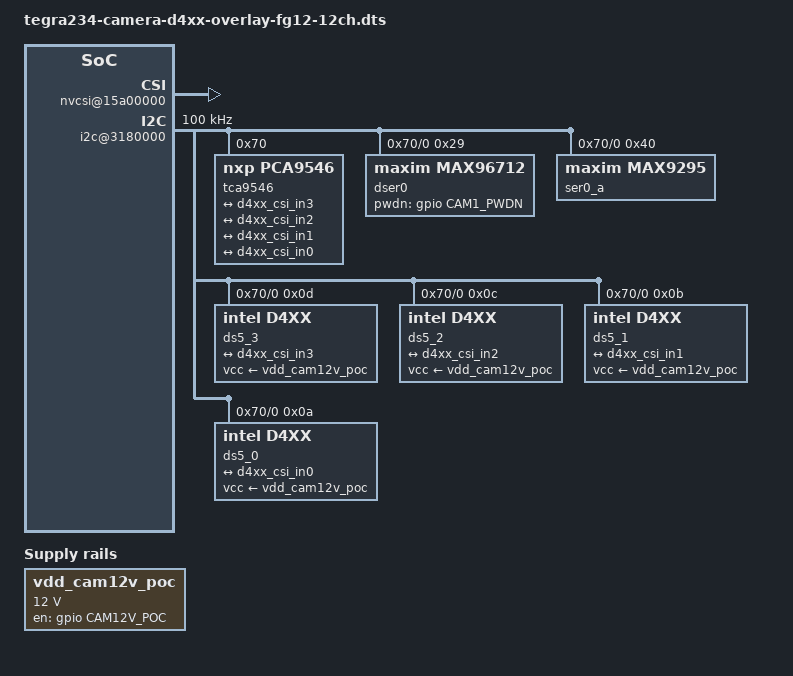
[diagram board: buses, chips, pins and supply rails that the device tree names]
// SPDX-License-Identifier: GPL-2.0-only
// SPDX-FileCopyrightText: Copyright (c) 2018-2023, INTEL CORPORATION. All rights reserved.
// SPDX-FileCopyrightText: Copyright (c) 2018-2024, NVIDIA CORPORATION & AFFILIATES. All rights reserved.

/dts-v1/;
/plugin/;

#include <dt-bindings/clock/tegra234-clock.h>
#include <dt-bindings/gpio/tegra234-gpio.h>
#include <dt-bindings/tegra234-p3737-0000+p3701-0000.h>

/* One D4xx/D457 camera on cam0 (deserializer 0, link 0).
 * This overlay does not configure TSC frame synchronization.
 */
#define CAM12V_POC	TEGRA234_MAIN_GPIO(AC, 7)
#define CAMERA_I2C_MUX_BUS(x) (0x1E + x)

#define CAM1_PWDN	TEGRA234_MAIN_GPIO(H, 3) /* deserializer on mux i2c@0 */

/ {
	overlay-name = "Orin FG12-12ch D4xx cam0";
	jetson-header-name = "Jetson AGX CSI Connector";
	compatible = JETSON_COMPATIBLE;

	fragment@1 {
		target-path = "/";
		__overlay__ {
			vdd_cam12v_poc: regulator-vdd-cam12v-poc {
				compatible = "regulator-fixed";
				regulator-name = "vdd-cam12v-poc";
				regulator-min-microvolt = <12000000>;
				regulator-max-microvolt = <12000000>;
				gpio = <&gpio CAM12V_POC GPIO_ACTIVE_HIGH>;
				enable-active-high;
			};
		};
	};

	fragment@0 {
		status = "okay";
		target-path = "/";
		__overlay__ {
			status = "okay";
			tegra-capture-vi {
				status = "okay";
				num-channels = <4>;
				ports {
					status = "okay";
					#address-cells = <1>;
					#size-cells = <0>;
					port@0 {
						status = "okay";
						reg = <0>;
						d4xx_vi_in0: endpoint {
							status = "okay";
							vc-id = <0>;
							port-index = <4>;
							bus-width = <4>;
							remote-endpoint = <&d4xx_csi_out0>;
						};
					};
					port@1 {
						status = "okay";
						reg = <1>;
						d4xx_vi_in1: endpoint {
							status = "okay";
							vc-id = <1>;
							port-index = <4>;
							bus-width = <4>;
							remote-endpoint = <&d4xx_csi_out1>;
						};
					};
					port@2 {
						status = "okay";
						reg = <2>;
						d4xx_vi_in2: endpoint {
							status = "okay";
							vc-id = <2>;
							port-index = <4>;
							bus-width = <4>;
							remote-endpoint = <&d4xx_csi_out2>;
						};
					};
					port@3 {
						status = "okay";
						reg = <3>;
						d4xx_vi_in3: endpoint {
							status = "okay";
							vc-id = <3>;
							port-index = <4>;
							bus-width = <4>;
							remote-endpoint = <&d4xx_csi_out3>;
						};
					};
				};
			};

			bus@0 {
				status = "okay";
				host1x@13e00000 {
					status = "okay";
					nvcsi@15a00000 {
						status = "okay";
						num-channels = <4>;
						#address-cells = <1>;
						#size-cells = <0>;
						channel@0 {
							status = "okay";
							reg = <0>;
							ports {
								status = "okay";
								port@0 {
									status = "okay";
									reg = <0>;
									d4xx_csi_in0: endpoint@0 {
										status = "okay";
										port-index = <4>;
										bus-width = <4>;
										remote-endpoint = <&ds5_0_out>;
									};
								};
								port@1 {
									status = "okay";
									reg = <1>;
									d4xx_csi_out0: endpoint@1 {
										status = "okay";
										remote-endpoint = <&d4xx_vi_in0>;
									};
								};
							};
						};
						channel@1 {
							status = "okay";
							reg = <1>;
							ports {
								status = "okay";
								port@0 {
									status = "okay";
									reg = <0>;
									d4xx_csi_in1: endpoint@2 {
										status = "okay";
										port-index = <4>;
										bus-width = <4>;
										remote-endpoint = <&ds5_1_out>;
									};
								};
								port@1 {
									status = "okay";
									reg = <1>;
									d4xx_csi_out1: endpoint@3 {
										status = "okay";
										remote-endpoint = <&d4xx_vi_in1>;
									};
								};
							};
						};
						channel@2 {
							status = "okay";
							reg = <2>;
							ports {
								status = "okay";
								port@0 {
									status = "okay";
									reg = <0>;
									d4xx_csi_in2: endpoint@4 {
										status = "okay";
										port-index = <4>;
										bus-width = <4>;
										remote-endpoint = <&ds5_2_out>;
									};
								};
								port@1 {
									status = "okay";
									reg = <1>;
									d4xx_csi_out2: endpoint@5 {
										status = "okay";
										remote-endpoint = <&d4xx_vi_in2>;
									};
								};
							};
						};
						channel@3 {
							status = "okay";
							reg = <3>;
							ports {
								status = "okay";
								port@0 {
									status = "okay";
									reg = <0>;
									d4xx_csi_in3: endpoint@6 {
										status = "okay";
										port-index = <4>;
										bus-width = <4>;
										remote-endpoint = <&ds5_3_out>;
									};
								};
								port@1 {
									status = "okay";
									reg = <1>;
									d4xx_csi_out3: endpoint@7 {
										status = "okay";
										remote-endpoint = <&d4xx_vi_in3>;
									};
								};
							};
						};
					};
				};
				i2c@3180000 {
					status = "okay";
					clock-frequency = <100000>;
					tca9546@70 {
						status = "okay";
						reg = <0x70>;
						compatible = "nxp,pca9546";
						#address-cells = <1>;
						#size-cells = <0>;
						skip_mux_detect = "yes";
						force_bus_start = <CAMERA_I2C_MUX_BUS(0)>;

						i2c@0 {
							status = "okay";
							reg = <0>;
							i2c-mux,deselect-on-exit;
							#address-cells = <1>;
							#size-cells = <0>;

							dser0: max96712@29 {
								status = "okay";
								reg = <0x29>;
								compatible = "maxim,max96712";
								csi-mode = "2x4";
								/* 4-lane CSI output towards the Jetson (1300 Mbps/lane). */
								lane_cnt = <4>;
								/* Enabled GMSL links: link 0 (d4xx). */
								link-mask = <0x1>;
								channel = "a";
								pwdn-gpios = <&gpio CAM1_PWDN GPIO_ACTIVE_HIGH>;
								fangzhu,fg12-12ch-poc-enable;
								/* <serializer-vc deserializer-vc> */
								maxim,link0-vc-remap = <0 0>, <1 1>, <2 2>, <3 3>;
							};

							ser0_a: max9295_a@40 {
								status = "okay";
								reg = <0x40>;
								compatible = "maxim,max9295";
								maxim,gmsl-link-id = <0>;
								maxim,gmsl-dser-device = <&dser0>;
							};

							ds5_3: ds5@0d {
								status = "okay";
								def-addr = <0x10>;
								reg = <0x0d>;
								override_reg = <0x0a>;
								compatible = "intel,d4xx";
								use_sensor_mode_id = "true";
								vcc-supply = <&vdd_cam12v_poc>;
								cam-type = "IMU";
								nvidia,gmsl-ser-device = <&ser0_a>;
								nvidia,gmsl-dser-device = <&dser0>;
								ports {
									#address-cells = <1>;
									#size-cells = <0>;

									port@0 {
										reg = <0>;
										ds5_3_out: endpoint {
											vc-id = <3>;
											port-index = <3>;
											bus-width = <2>;
											remote-endpoint = <&d4xx_csi_in3>;
										};
									};
								};
								mode0 {
									pixel_t = "grey_y16";
									num_lanes = "4";
									csi_pixel_bit_depth = "16";
									active_w = "640";
									active_h = "480";
									tegra_sinterface = "serial_e";
									mclk_khz = "24000";
									pix_clk_hz = "74250000";
									serdes_pix_clk_hz = "325000000"; /* 4 lanes x 1300 Mbps / 16 bpp */
									line_length = "1280"; /* 2200 */
									embedded_metadata_height = "0";
								};
								gmsl-link {
									src-csi-port = "b";
									dst-csi-port = "a";
									serdes-csi-link = "a";
									csi-mode = "1x4";
									st-vc = <0>;
									vc-id = <3>;
									num-lanes = <2>;
								};
							};

							ds5_2: ds5@0c {
								status = "okay";
								def-addr = <0x10>;
								reg = <0x0c>;
								override_reg = <0x0a>;
								compatible = "intel,d4xx";
								use_sensor_mode_id = "true";
								vcc-supply = <&vdd_cam12v_poc>;
								cam-type = "Y8";
								nvidia,gmsl-ser-device = <&ser0_a>;
								nvidia,gmsl-dser-device = <&dser0>;
								ports {
									#address-cells = <1>;
									#size-cells = <0>;

									port@0 {
										reg = <0>;
										ds5_2_out: endpoint {
											vc-id = <2>;
											port-index = <2>;
											bus-width = <2>;
											remote-endpoint = <&d4xx_csi_in2>;
										};
									};
								};
								/* mode0: Y8, mode1: depth D16 */
								mode0 {
									pixel_t = "grey_y16";
									num_lanes = "4";
									csi_pixel_bit_depth = "16";
									active_w = "1280";
									active_h = "720";
									tegra_sinterface = "serial_e";
									mclk_khz = "24000";
									pix_clk_hz = "74250000";
									serdes_pix_clk_hz = "325000000"; /* 4 lanes x 1300 Mbps / 16 bpp */
									line_length = "1280"; /* 2200 */
									embedded_metadata_height = "1";
								};
								gmsl-link {
									src-csi-port = "b";
									dst-csi-port = "a";
									serdes-csi-link = "a";
									csi-mode = "1x4";
									st-vc = <0>;
									vc-id = <2>;
									num-lanes = <2>;
								};
							};

							ds5_1: ds5@0b {
								status = "okay";
								def-addr = <0x10>;
								reg = <0x0b>;
								override_reg = <0x0a>;
								compatible = "intel,d4xx";
								use_sensor_mode_id = "true";
								vcc-supply = <&vdd_cam12v_poc>;
								cam-type = "RGB";
								nvidia,gmsl-ser-device = <&ser0_a>;
								nvidia,gmsl-dser-device = <&dser0>;
								ports {
									#address-cells = <1>;
									#size-cells = <0>;

									port@0 {
										reg = <0>;
										ds5_1_out: endpoint {
											vc-id = <1>;
											port-index = <1>;
											bus-width = <2>;
											remote-endpoint = <&d4xx_csi_in1>;
										};
									};
								};
								mode0 {
									pixel_t = "grey_y16";
									num_lanes = "4";
									csi_pixel_bit_depth = "16";
									active_w = "1920";
									active_h = "1080";
									tegra_sinterface = "serial_e";
									mclk_khz = "24000";
									pix_clk_hz = "74250000";
									serdes_pix_clk_hz = "325000000"; /* 4 lanes x 1300 Mbps / 16 bpp */
									line_length = "1280"; /* 2200 */
									embedded_metadata_height = "1";
								};
								gmsl-link {
									src-csi-port = "b";
									dst-csi-port = "a";
									serdes-csi-link = "a";
									csi-mode = "1x4";
									st-vc = <0>;
									vc-id = <1>;
									num-lanes = <2>;
								};
							};

							ds5_0: ds5@0a {
								status = "okay";
								def-addr = <0x10>;
								reg = <0x0a>;
								compatible = "intel,d4xx";
								use_sensor_mode_id = "true";
								vcc-supply = <&vdd_cam12v_poc>;
								cam-type = "Depth";
								nvidia,gmsl-ser-device = <&ser0_a>;
								nvidia,gmsl-dser-device = <&dser0>;
								ports {
									#address-cells = <1>;
									#size-cells = <0>;

									port@0 {
										reg = <0>;
										ds5_0_out: endpoint {
											vc-id = <0>;
											port-index = <0>;
											bus-width = <2>;
											remote-endpoint = <&d4xx_csi_in0>;
										};
									};
								};
								mode0 {
									pixel_t = "grey_y16";
									num_lanes = "4";
									csi_pixel_bit_depth = "16";
									active_w = "1280";
									active_h = "720";
									tegra_sinterface = "serial_e";
									mclk_khz = "24000";
									pix_clk_hz = "74250000";
									serdes_pix_clk_hz = "325000000"; /* 4 lanes x 1300 Mbps / 16 bpp */
									line_length = "1280"; /* 2200 */
									embedded_metadata_height = "1";
								};
								gmsl-link {
									src-csi-port = "b";
									dst-csi-port = "a";
									serdes-csi-link = "a";
									csi-mode = "1x4";
									st-vc = <0>;
									vc-id = <0>;
									num-lanes = <2>;
								};
							};
						};
					};
				};
			};
		};
	};
};
